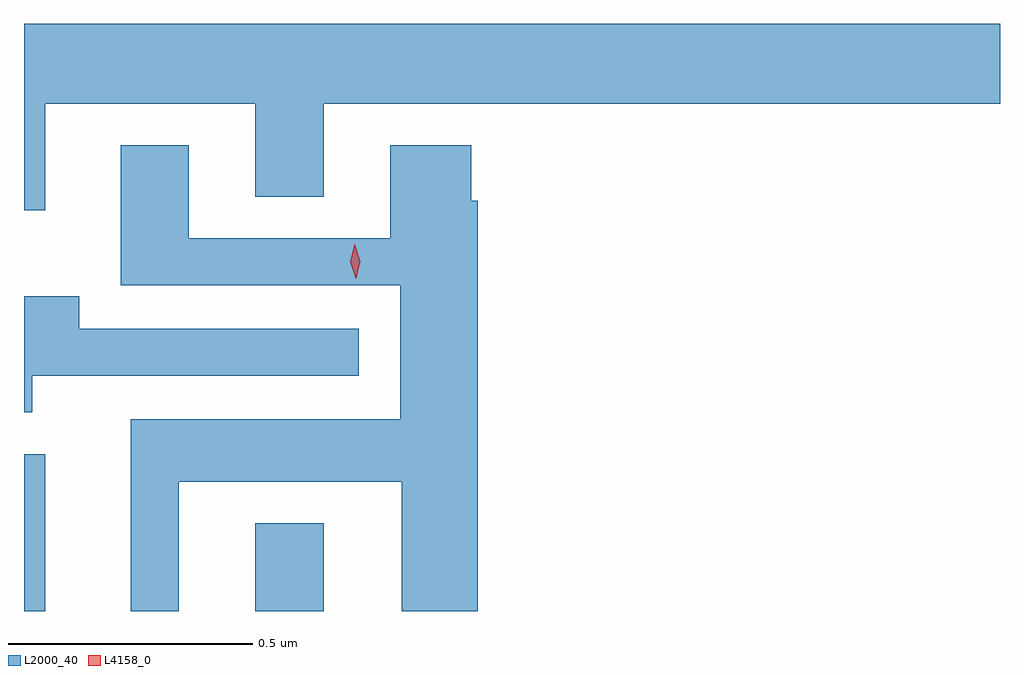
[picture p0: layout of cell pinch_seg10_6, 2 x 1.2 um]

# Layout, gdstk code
import gdstk
lib = gdstk.Library(unit=1e-6, precision=1e-09)
def R(c, l, rs):  # rectangles x0, y0, x1, y1
    for r in rs: c.add(gdstk.rectangle(r[:2], r[2:], *l))
def P(c, l, *ps):  # polygons
    for p in ps: c.add(gdstk.Polygon(p, *l))
L2000_40 = (2000, 40)
L4158_0 = (4158, 0)

pinch_seg10_6 = lib.new_cell('pinch_seg10_6')
R(pinch_seg10_6, L2000_40, [(1083.869,1255.321,1083.913,1255.642), (1084.343,1255.321,1084.483,1255.501)])
P(pinch_seg10_6, L2000_40, [(1083.913,1256.36),(1084.343,1256.36),(1084.343,1256.17),(1084.483,1256.17),(1084.483,1256.36),(1085.869,1256.36),(1085.869,1256.524),(1083.869,1256.524),(1083.869,1256.142),(1083.913,1256.142)],
  [(1084.186,1255.586),(1084.643,1255.586),(1084.643,1255.321),(1084.799,1255.321),(1084.799,1256.162),(1084.786,1256.162),(1084.786,1256.275),(1084.619,1256.275),(1084.619,1256.085),(1084.207,1256.085),(1084.207,1256.275),(1084.067,1256.275),(1084.067,1255.989),(1084.64,1255.989),(1084.64,1255.714),(1084.088,1255.714),(1084.088,1255.321),(1084.186,1255.321)],
  [(1083.886,1255.803),(1084.555,1255.803),(1084.555,1255.899),(1083.982,1255.899),(1083.982,1255.966),(1083.869,1255.966),(1083.869,1255.728),(1083.886,1255.728)])
P(pinch_seg10_6, L4158_0, [(1084.549,1256.002),(1084.549,1256.003),(1084.538,1256.037),(1084.547,1256.073),(1084.547,1256.073),(1084.547,1256.073),(1084.558,1256.038),(1084.55,1256.003)])

lib.write_gds('pinch_seg10_6.gds')
